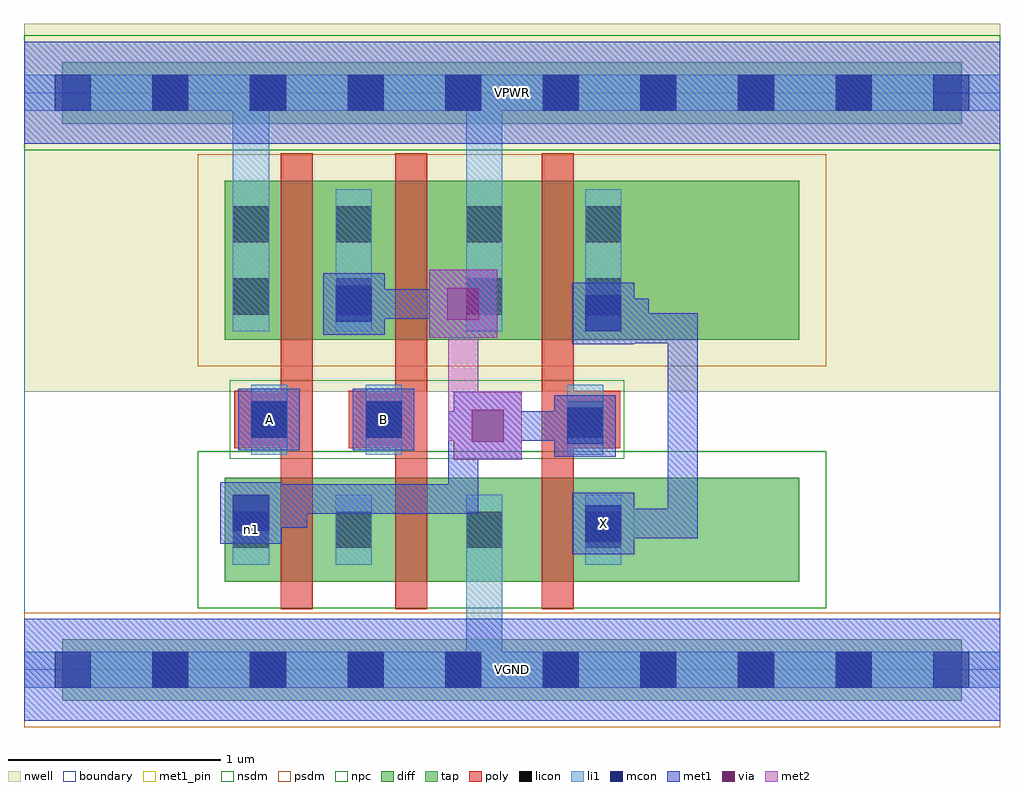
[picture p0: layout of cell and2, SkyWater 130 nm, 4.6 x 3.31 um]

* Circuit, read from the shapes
.subckt and2 A B VGND VPWR X n1
XM1 n2 A n1 VGND sky130_fd_pr__nfet_01v8 w=0.49 l=0.15
XM2 VGND B n2 VGND sky130_fd_pr__nfet_01v8 w=0.49 l=0.15
XM3 X n1 VGND VGND sky130_fd_pr__nfet_01v8 w=0.49 l=0.15
XM4 n1 A VPWR VPWR sky130_fd_pr__pfet_01v8 w=0.75 l=0.15
XM5 VPWR B n1 VPWR sky130_fd_pr__pfet_01v8 w=0.75 l=0.15
XM6 X n1 VPWR VPWR sky130_fd_pr__pfet_01v8 w=0.75 l=0.15
.ends

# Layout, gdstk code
import gdstk
lib = gdstk.Library(unit=1e-6, precision=1e-09)
def R(c, l, rs):  # rectangles x0, y0, x1, y1
    for r in rs: c.add(gdstk.rectangle(r[:2], r[2:], *l))
def A(c, l, x, y, w, h, nx, ny, dx, dy):  # array of equal rectangles
    R(c, l, [(x+i*dx, y+j*dy, x+i*dx+w, y+j*dy+h) for i in range(nx) for j in range(ny)])
nwell = (64, 20)
diff = (65, 20)
tap = (65, 44)
poly = (66, 20)
licon = (66, 44)
li1 = (67, 20)
mcon = (67, 44)
met1_pin = (68, 16)
met1 = (68, 20)
via = (68, 44)
met2 = (69, 20)
nsdm = (93, 44)
psdm = (94, 20)
npc = (95, 20)
boundary = (235, 4)

and2 = lib.new_cell('and2')
R(and2, nwell, [(0,1.31,4.6,3.045)])
R(and2, diff, [(0.945,0.415,3.655,0.905), (0.945,1.555,3.655,2.305)])
R(and2, tap, [(0.18,-0.145,4.42,0.145), (0.18,2.575,4.42,2.865)])
R(and2, poly, [(1.21,0.285,1.36,2.435), (1.75,0.285,1.9,2.435), (2.44,0.285,2.59,2.435), (0.99,1.045,1.32,1.315), (1.53,1.045,1.86,1.315), (2.48,1.045,2.81,1.315)])
A(and2, licon, 0.605, -0.085, 0.17, 0.17, 8, 2, 0.46, 2.72)
R(and2, licon, [(0.985,0.575,1.155,0.745), (1.47,0.575,1.64,0.745), (2.085,0.575,2.255,0.745), (2.645,0.575,2.815,0.745), (1.07,1.095,1.24,1.265), (1.61,1.095,1.78,1.265), (2.56,1.095,2.73,1.265), (0.985,1.675,1.155,1.845), (1.47,1.675,1.64,1.845), (2.085,1.675,2.255,1.845), (2.645,1.675,2.815,1.845), (0.985,2.015,1.155,2.185), (1.47,2.015,1.64,2.185), (2.085,2.015,2.255,2.185), (2.645,2.015,2.815,2.185)])
R(and2, li1, [(0,-0.085,4.6,0.085), (2.085,-0.085,2.255,0.825), (0.985,0.495,1.155,0.825), (1.47,0.495,1.64,0.825), (2.085,0.495,2.255,0.825), (2.645,0.495,2.815,0.825), (1.07,1.015,1.24,1.345), (1.61,1.015,1.78,1.345), (2.56,1.015,2.73,1.345), (0.985,1.595,1.155,2.265), (0.985,1.595,1.155,2.805), (1.47,1.595,1.64,2.265), (2.085,1.595,2.255,2.265), (2.085,1.595,2.255,2.805), (2.645,1.595,2.815,2.265), (0,2.635,4.6,2.805)])
A(and2, mcon, 0.145, -0.085, 0.17, 0.17, 10, 2, 0.46, 2.72)
R(and2, mcon, [(2.645,0.605,2.815,0.775), (0.985,0.655,1.155,0.825), (2.56,1.065,2.73,1.235), (1.07,1.095,1.24,1.265), (1.61,1.095,1.78,1.265), (2.645,1.595,2.815,1.765), (1.47,1.64,1.64,1.81)])
R(and2, met1_pin, [(0,-0.24,4.6,0.24), (2.585,0.545,2.875,0.835), (1.01,1.035,1.3,1.325), (1.55,1.035,1.84,1.325), (0,2.48,4.6,2.96)])
R(and2, met1, [(0,-0.24,4.6,0.24), (2.585,0.545,2.875,0.835), (0.925,0.595,1.215,0.885), (2.66,0.62,2.945,0.76), (2.805,0.62,3.175,0.76), (3.035,0.62,3.175,1.68), (1,0.67,1.335,0.81), (1.195,0.67,1.335,0.875), (1.195,0.735,2.14,0.875), (2,0.735,2.14,1.22), (2.025,0.99,2.345,1.31), (2.5,1.005,2.79,1.295), (1.01,1.035,1.3,1.325), (1.55,1.035,1.84,1.325), (2,1.08,2.715,1.22), (2.585,1.535,2.875,1.825), (2.805,1.54,2.945,1.75), (2.805,1.54,3.175,1.68), (1.91,1.565,2.23,1.885), (1.41,1.58,1.7,1.87), (2.66,1.61,2.945,1.75), (1.485,1.655,1.795,1.795), (1.655,1.655,2.14,1.795), (0,2.48,4.6,2.96)])
R(and2, via, [(2.11,1.075,2.26,1.225), (1.995,1.65,2.145,1.8)])
R(and2, met2, [(2.025,0.99,2.345,1.31), (2,1.08,2.255,1.22), (2,1.08,2.14,1.795), (1.91,1.565,2.23,1.885)])
R(and2, nsdm, [(0.82,0.29,3.78,1.03), (0,2.45,4.6,2.99)])
R(and2, psdm, [(0,-0.27,4.6,0.27), (0.82,1.43,3.78,2.43)])
R(and2, npc, [(0.97,0.995,2.83,1.365)])
R(and2, boundary, [(0,0,4.6,2.72)])
and2.add(gdstk.Label('n1', (1.07,0.66), layer=67, texttype=5))
and2.add(gdstk.Label('A', (1.155,1.18), layer=68, texttype=5))
and2.add(gdstk.Label('B', (1.695,1.18), layer=68, texttype=5))
and2.add(gdstk.Label('X', (2.73,0.69), layer=68, texttype=5))
and2.add(gdstk.Label('VPWR', (2.3,2.72), layer=68, texttype=5))
and2.add(gdstk.Label('VGND', (2.3,0), layer=68, texttype=5))
and2.add(gdstk.Label('A', (1.155,1.18), layer=68, texttype=16))
and2.add(gdstk.Label('B', (1.695,1.18), layer=68, texttype=16))
and2.add(gdstk.Label('X', (2.73,0.69), layer=68, texttype=16))
and2.add(gdstk.Label('VPWR', (2.3,2.72), layer=68, texttype=16))
and2.add(gdstk.Label('VGND', (2.3,0), layer=68, texttype=16))

lib.write_gds('and2.gds')
